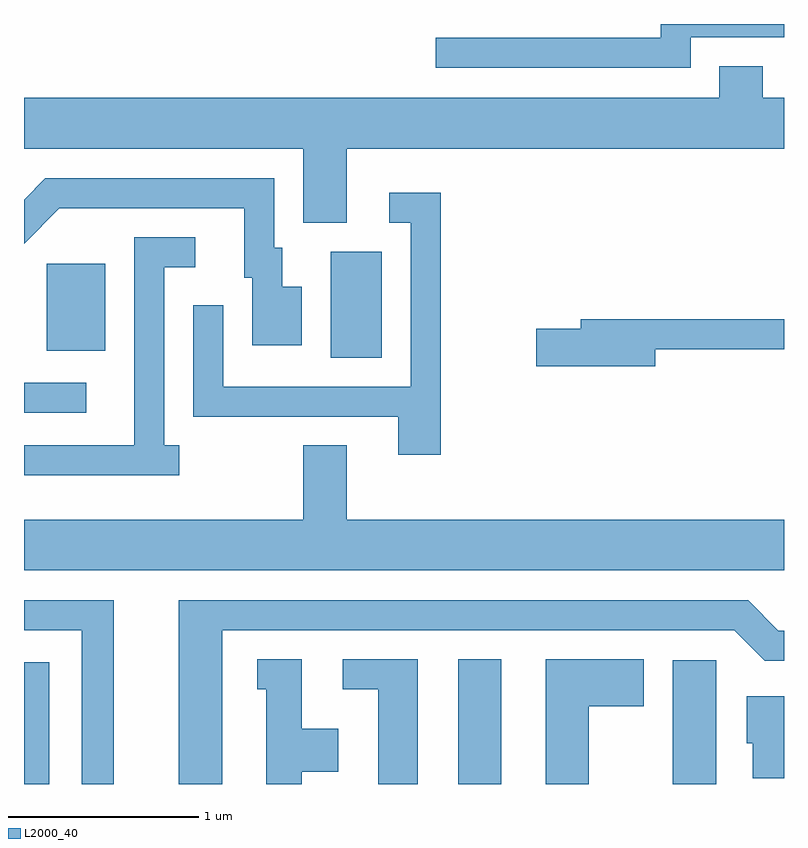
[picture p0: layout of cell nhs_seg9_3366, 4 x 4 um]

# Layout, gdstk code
import gdstk
lib = gdstk.Library(unit=1e-6, precision=1e-09)
def R(c, l, rs):  # rectangles x0, y0, x1, y1
    for r in rs: c.add(gdstk.rectangle(r[:2], r[2:], *l))
def P(c, l, *ps):  # polygons
    for p in ps: c.add(gdstk.Polygon(p, *l))
L2000_40 = (2000, 40)

nhs_seg9_3366 = lib.new_cell('nhs_seg9_3366')
R(nhs_seg9_3366, L2000_40, [(283.611,2028.432,283.744,2029.074), (285.896,2028.432,286.124,2029.089), (287.026,2028.432,287.254,2029.084), (283.611,2030.386,283.938,2030.544), (285.226,2030.676,285.494,2031.234), (283.731,2030.711,284.039,2031.169)])
P(nhs_seg9_3366, L2000_40, [(287.119,2032.361),(287.611,2032.361),(287.611,2032.432),(286.961,2032.432),(286.961,2032.359),(285.778,2032.359),(285.778,2032.201),(287.119,2032.201)],
  [(285.309,2031.776),(287.611,2031.776),(287.611,2032.044),(287.499,2032.044),(287.499,2032.209),(287.271,2032.209),(287.271,2032.044),(283.611,2032.044),(283.611,2031.776),(285.081,2031.776),(285.081,2031.386),(285.309,2031.386)],
  [(285.074,2031.049),(284.969,2031.049),(284.969,2031.254),(284.929,2031.254),(284.929,2031.619),(283.724,2031.619),(283.611,2031.506),(283.611,2031.276),(283.797,2031.461),(284.771,2031.461),(284.771,2031.096),(284.811,2031.096),(284.811,2030.741),(285.074,2030.741)],
  [(285.804,2031.544),(285.533,2031.544),(285.533,2031.386),(285.646,2031.386),(285.646,2030.524),(284.659,2030.524),(284.659,2030.953),(284.501,2030.953),(284.501,2030.366),(285.581,2030.366),(285.581,2030.166),(285.804,2030.166)],
  [(284.428,2030.214),(284.349,2030.214),(284.349,2031.151),(284.513,2031.151),(284.513,2031.309),(284.191,2031.309),(284.191,2030.214),(283.611,2030.214),(283.611,2030.056),(284.428,2030.056)],
  [(286.934,2030.721),(287.611,2030.721),(287.611,2030.879),(286.541,2030.879),(286.541,2030.829),(286.306,2030.829),(286.306,2030.631),(286.934,2030.631)],
  [(287.611,2029.824),(285.309,2029.824),(285.309,2030.214),(285.081,2030.214),(285.081,2029.824),(283.611,2029.824),(283.611,2029.556),(287.611,2029.556)],
  [(284.084,2029.399),(283.611,2029.399),(283.611,2029.241),(283.916,2029.241),(283.916,2028.432),(284.084,2028.432)],
  [(284.654,2029.241),(287.349,2029.241),(287.509,2029.081),(287.611,2029.081),(287.611,2029.239),(287.582,2029.239),(287.422,2029.399),(284.426,2029.399),(284.426,2028.432),(284.654,2028.432)],
  [(285.074,2028.496),(285.264,2028.496),(285.264,2028.724),(285.074,2028.724),(285.074,2029.089),(284.838,2029.089),(284.838,2028.931),(284.886,2028.931),(284.886,2028.432),(285.074,2028.432)],
  [(285.684,2029.089),(285.288,2029.089),(285.288,2028.931),(285.476,2028.931),(285.476,2028.432),(285.684,2028.432)],
  [(286.584,2028.841),(286.874,2028.841),(286.874,2029.089),(286.356,2029.089),(286.356,2028.432),(286.584,2028.432)],
  [(287.611,2028.894),(287.416,2028.894),(287.416,2028.646),(287.446,2028.646),(287.446,2028.461),(287.611,2028.461)])

lib.write_gds('nhs_seg9_3366.gds')
